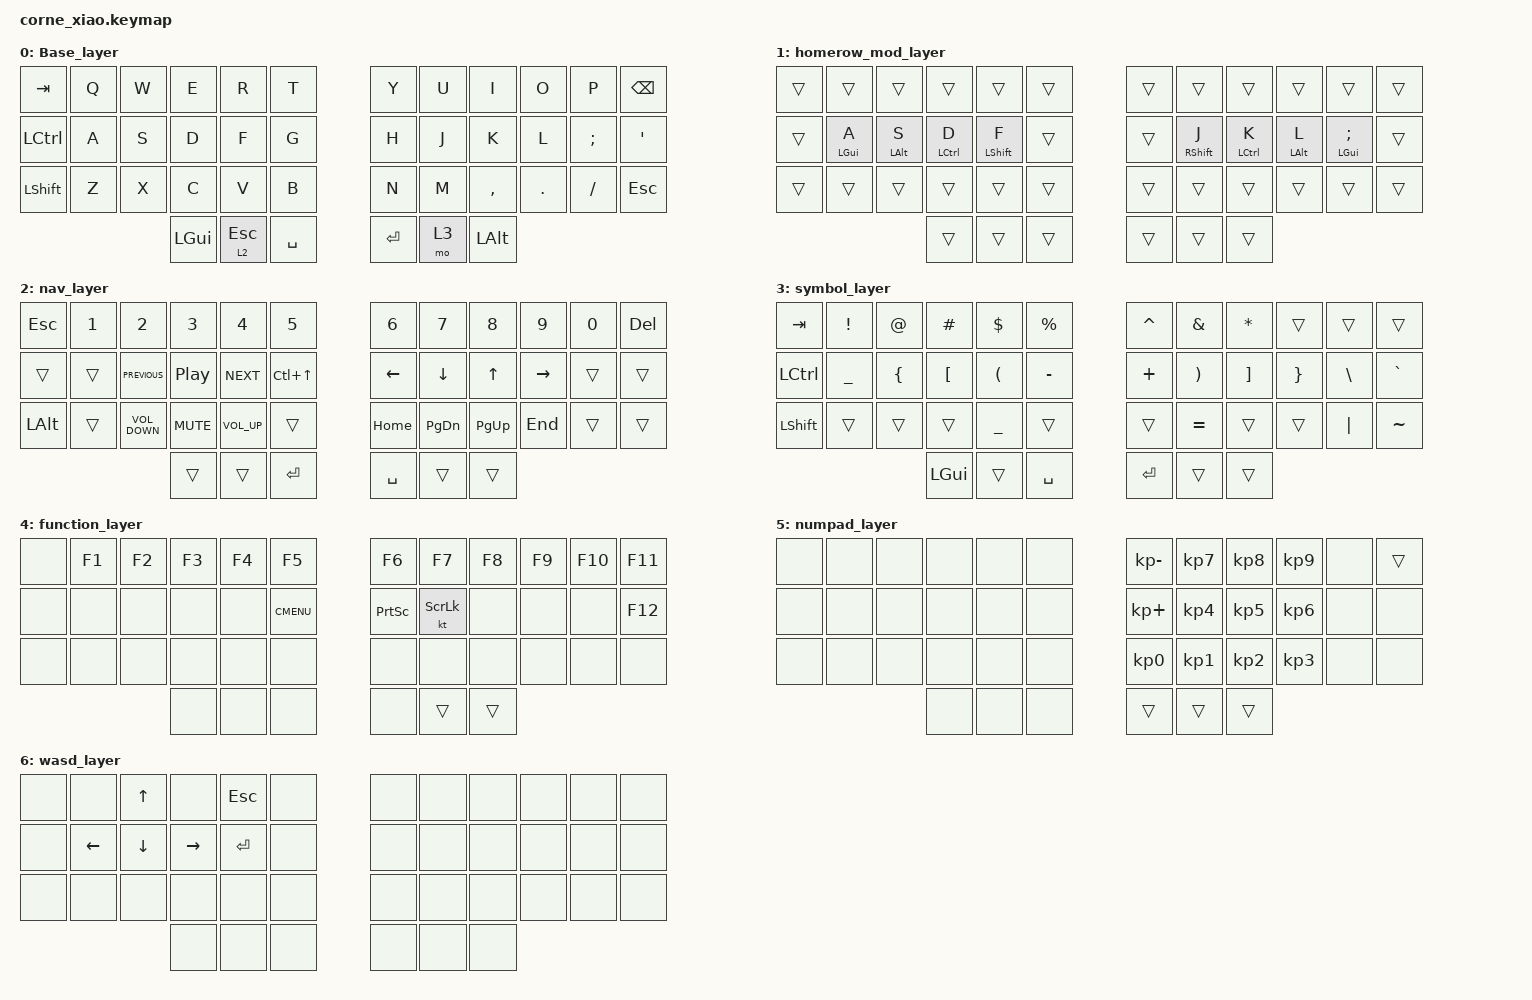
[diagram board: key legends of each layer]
#include <behaviors.dtsi>
#include <dt-bindings/zmk/keys.h>
#include <dt-bindings/zmk/keys.h>

#define BASE 0
#define LOWER 1
#define RAISE 2
#define SUPER 3
#define NUMPAD 4
#define WASD 5

&mt { flavor = "balanced"; };

/ {
    combos {
        compatible = "zmk,combos";

        combo_caps {
            timeout-ms = <100>;
            key-positions = <40 37>;
            layers = <0>;
            bindings = <&sk CAPS>;
        };

        combo_raise_super {
            timeout-ms = <100>;
            key-positions = <37 38>;
            layers = <0>;
            bindings = <&mo 4>;
        };

        combo_numpad_toggle {
            timeout-ms = <100>;
            key-positions = <40 41>;
            layers = <0 5>;
            bindings = <&tog 5>;
        };

        combo_wasd {
            timeout-ms = <50>;
            key-positions = <36 37>;
            layers = <0>;
            bindings = <&mo 6>;
        };

        homerow_mod_toggle {
            bindings = <&tog 1>;
            key-positions = <0 11>;
        };
    };

    keymap {
        compatible = "zmk,keymap";

        Base_layer {
            bindings = <
&kp TAB           &kp Q  &kp W  &kp E         &kp R         &kp T        &kp Y      &kp U  &kp I         &kp O       &kp P          &kp BACKSPACE
&kp LEFT_CONTROL  &kp A  &kp S  &kp D         &kp F         &kp G        &kp H      &kp J  &kp K         &kp L       &kp SEMICOLON  &kp SINGLE_QUOTE
&kp LEFT_SHIFT    &kp Z  &kp X  &kp C         &kp V         &kp B        &kp N      &kp M  &kp COMMA     &kp PERIOD  &kp SLASH      &kp ESCAPE
                                &kp LEFT_GUI  &lt 2 ESCAPE  &kp SPACE    &kp ENTER  &mo 3  &kp LEFT_ALT
            >;
        };

        homerow_mod_layer {
            bindings = <
&trans  &trans          &trans      &trans       &trans       &trans    &trans  &trans       &trans       &trans      &trans              &trans
&trans  &mt LEFT_GUI A  &mt LALT S  &mt LCTRL D  &mt LSHFT F  &trans    &trans  &mt RSHFT J  &mt LCTRL K  &mt LALT L  &mt LGUI SEMICOLON  &trans
&trans  &trans          &trans      &trans       &trans       &trans    &trans  &trans       &trans       &trans      &trans              &trans
                                    &trans       &trans       &trans    &trans  &trans       &trans
            >;
        };

        nav_layer {
            bindings = <
&kp ESCAPE  &kp NUMBER_1  &kp NUMBER_2       &kp NUMBER_3      &kp NUMBER_4     &kp NUMBER_5    &kp NUMBER_6    &kp NUMBER_7    &kp NUMBER_8  &kp NUMBER_9     &kp NUMBER_0  &kp DEL
&trans      &trans        &kp C_PREVIOUS     &kp C_PLAY_PAUSE  &kp C_NEXT       &kp LC(UP)      &kp LEFT_ARROW  &kp DOWN_ARROW  &kp UP_ARROW  &kp RIGHT_ARROW  &trans        &trans
&kp LALT    &trans        &kp C_VOLUME_DOWN  &kp C_MUTE        &kp C_VOLUME_UP  &trans          &kp HOME        &kp PG_DN       &kp PG_UP     &kp END          &trans        &trans
                                             &trans            &trans           &kp RETURN      &kp SPACE       &trans          &trans
            >;
        };

        symbol_layer {
            bindings = <
&kp TAB           &kp EXCLAMATION  &kp AT_SIGN     &kp HASH          &kp DOLLAR            &kp PERCENT    &kp CARET   &kp AMPERSAND          &kp ASTERISK       &trans           &trans         &trans
&kp LEFT_CONTROL  &kp UNDER        &kp LEFT_BRACE  &kp LEFT_BRACKET  &kp LEFT_PARENTHESIS  &kp MINUS      &kp PLUS    &kp RIGHT_PARENTHESIS  &kp RIGHT_BRACKET  &kp RIGHT_BRACE  &kp BACKSLASH  &kp GRAVE
&kp LEFT_SHIFT    &trans           &trans          &trans            &kp UNDERSCORE        &trans         &trans      &kp EQUAL              &trans             &trans           &kp PIPE       &kp TILDE
                                                   &kp LEFT_GUI      &trans                &kp SPACE      &kp RETURN  &trans                 &trans
            >;
        };

        function_layer {
            bindings = <
&none  &kp F1  &kp F2  &kp F3  &kp F4  &kp F5         &kp F6           &kp F7          &kp F8  &kp F9  &kp F10  &kp F11
&none  &none   &none   &none   &none   &kp K_CMENU    &kp PRINTSCREEN  &kt SCROLLLOCK  &none   &none   &none    &kp F12
&none  &none   &none   &none   &none   &none          &none            &none           &none   &none   &none    &none
                       &none   &none   &none          &none            &trans          &trans
            >;
        };

        numpad_layer {
            bindings = <
&none  &none  &none  &none  &none  &none    &kp KP_MINUS     &kp KP_NUMBER_7  &kp KP_NUMBER_8  &kp KP_NUMBER_9  &none  &trans
&none  &none  &none  &none  &none  &none    &kp KP_PLUS      &kp KP_NUMBER_4  &kp KP_NUMBER_5  &kp KP_NUMBER_6  &none  &none
&none  &none  &none  &none  &none  &none    &kp KP_NUMBER_0  &kp KP_NUMBER_1  &kp KP_NUMBER_2  &kp KP_NUMBER_3  &none  &none
                     &none  &none  &none    &trans           &trans           &trans
            >;
        };

        wasd_layer {
            bindings = <
&none  &none     &kp UP    &none      &kp ESCAPE  &none    &none  &none  &none  &none  &none  &none
&none  &kp LEFT  &kp DOWN  &kp RIGHT  &kp RETURN  &none    &none  &none  &none  &none  &none  &none
&none  &none     &none     &none      &none       &none    &none  &none  &none  &none  &none  &none
                           &none      &none       &none    &none  &none  &none
            >;
        };
    };
};
